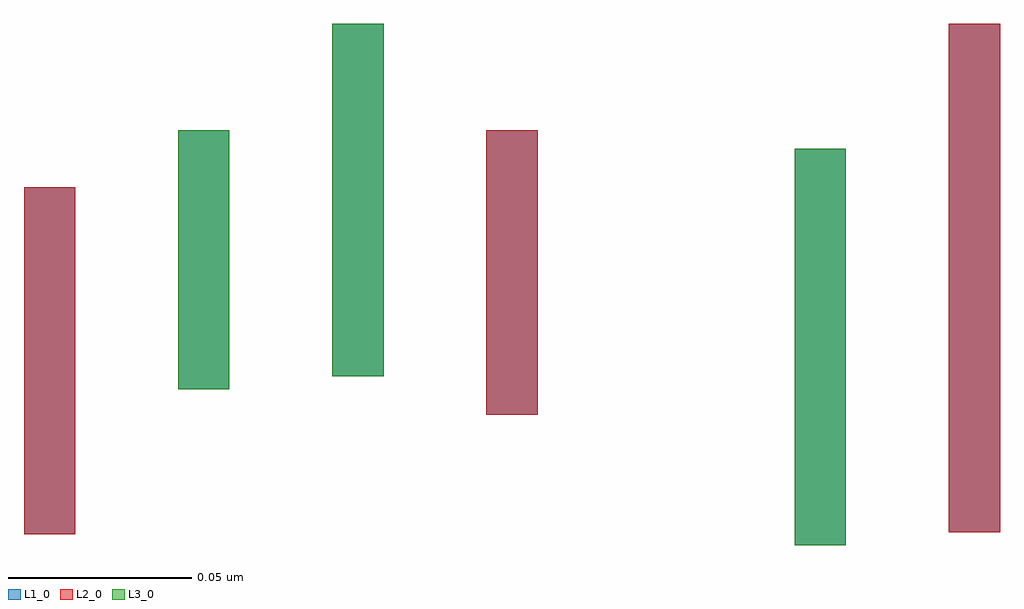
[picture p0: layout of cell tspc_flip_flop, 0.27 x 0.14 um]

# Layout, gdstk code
import gdstk
lib = gdstk.Library(unit=1e-6, precision=5e-10)
def R(c, l, rs):  # rectangles x0, y0, x1, y1
    for r in rs: c.add(gdstk.rectangle(r[:2], r[2:], *l))
L1_0 = (1, 0)
L2_0 = (2, 0)
L3_0 = (3, 0)

tspc_flip_flop = lib.new_cell('tspc_flip_flop')
R(tspc_flip_flop, L1_0, [(0.6475,0.244,0.6615,0.352), (0.4375,0.247,0.4515,0.3415), (0.6895,0.2475,0.7035,0.386), (0.5635,0.2795,0.5775,0.357), (0.4795,0.2865,0.4935,0.357), (0.5215,0.29,0.5355,0.386)])
R(tspc_flip_flop, L2_0, [(0.4375,0.247,0.4515,0.3415), (0.6895,0.2475,0.7035,0.386), (0.5635,0.2795,0.5775,0.357)])
R(tspc_flip_flop, L3_0, [(0.6475,0.244,0.6615,0.352), (0.4795,0.2865,0.4935,0.357), (0.5215,0.29,0.5355,0.386)])

lib.write_gds('tspc_flip_flop.gds')
